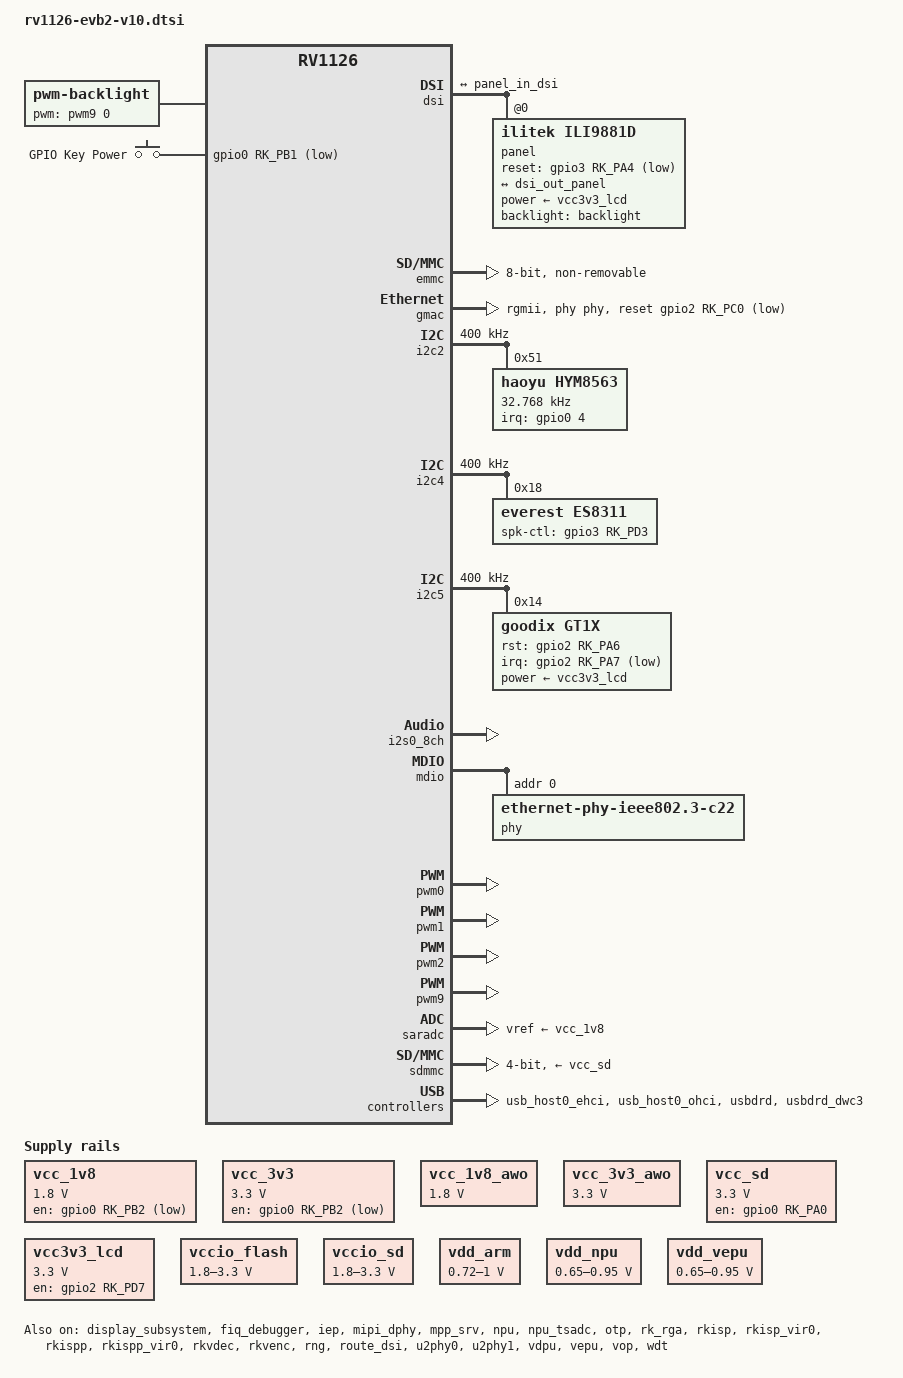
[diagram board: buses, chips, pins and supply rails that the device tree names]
// SPDX-License-Identifier: (GPL-2.0+ OR MIT)
/*
 * Copyright (c) 2024 Rockchip Electronics Co., Ltd.
 */

#include <dt-bindings/display/drm_mipi_dsi.h>
#include <dt-bindings/input/input.h>

/ {
	backlight: backlight {
		compatible = "pwm-backlight";
		pwms = <&pwm9 0 25000 0>;
		brightness-levels = <
			  0   1   2   3   4   5   6   7
			  8   9  10  11  12  13  14  15
			 16  17  18  19  20  21  22  23
			 24  25  26  27  28  29  30  31
			 32  33  34  35  36  37  38  39
			 40  41  42  43  44  45  46  47
			 48  49  50  51  52  53  54  55
			 56  57  58  59  60  61  62  63
			 64  65  66  67  68  69  70  71
			 72  73  74  75  76  77  78  79
			 80  81  82  83  84  85  86  87
			 88  89  90  91  92  93  94  95
			 96  97  98  99 100 101 102 103
			104 105 106 107 108 109 110 111
			112 113 114 115 116 117 118 119
			120 121 122 123 124 125 126 127
			128 129 130 131 132 133 134 135
			136 137 138 139 140 141 142 143
			144 145 146 147 148 149 150 151
			152 153 154 155 156 157 158 159
			160 161 162 163 164 165 166 167
			168 169 170 171 172 173 174 175
			176 177 178 179 180 181 182 183
			184 185 186 187 188 189 190 191
			192 193 194 195 196 197 198 199
			200 201 202 203 204 205 206 207
			208 209 210 211 212 213 214 215
			216 217 218 219 220 221 222 223
			224 225 226 227 228 229 230 231
			232 233 234 235 236 237 238 239
			240 241 242 243 244 245 246 247
			248 249 250 251 252 253 254 255>;
		default-brightness-level = <200>;
	};

	vcc_1v8: vcc-1v8 {
		compatible = "regulator-fixed";
		regulator-name = "vcc_1v8";
		regulator-always-on;
		regulator-boot-on;
		regulator-min-microvolt = <1800000>;
		regulator-max-microvolt = <1800000>;
		gpio = <&gpio0 RK_PB2 GPIO_ACTIVE_LOW>;
		regulator-state-mem {
			regulator-on-in-suspend;
		};
	};

	vcc_3v3: vcc-3v3 {
		compatible = "regulator-fixed";
		regulator-name = "vcc_3v3";
		regulator-always-on;
		regulator-boot-on;
		regulator-min-microvolt = <3300000>;
		regulator-max-microvolt = <3300000>;
		gpio = <&gpio0 RK_PB2 GPIO_ACTIVE_LOW>;
		regulator-state-mem {
			regulator-on-in-suspend;
		};
	};

	// Always on voltage.
	vcc_1v8_awo: vcc-1v8-awo {
		compatible = "regulator-fixed";
		regulator-name = "vcc_1v8_awo";
		regulator-always-on;
		regulator-boot-on;
		regulator-min-microvolt = <1800000>;
		regulator-max-microvolt = <1800000>;
	};

	// Always on voltage.
	vcc_3v3_awo: vcc-3v3-awo {
		compatible = "regulator-fixed";
		regulator-name = "vcc_3v3_awo";
		regulator-always-on;
		regulator-boot-on;
		regulator-min-microvolt = <3300000>;
		regulator-max-microvolt = <3300000>;
	};

	vcc_sd: vcc-sd {
		compatible = "regulator-fixed";
		regulator-name = "vcc_sd";
		regulator-min-microvolt = <3300000>;
		regulator-max-microvolt = <3300000>;
		enable-active-high;
		regulator-boot-on;
		regulator-always-on;
		gpios = <&gpio0 RK_PA0 GPIO_ACTIVE_HIGH>;
		regulator-state-mem {
			regulator-off-in-suspend;
		};
	};

	vcc3v3_lcd: vcc3v3-lcd {
		compatible = "regulator-fixed";
		regulator-name = "vcc3v3_lcd";
		gpio = <&gpio2 RK_PD7 GPIO_ACTIVE_HIGH>;
		enable-active-high;
		regulator-boot-on;
		regulator-min-microvolt = <3300000>;
		regulator-max-microvolt = <3300000>;
	};

	vccio_flash: vccio-flash {
		compatible = "regulator-gpio";
		regulator-name = "vccio_flash";
		regulator-min-microvolt = <1800000>;
		regulator-max-microvolt = <3300000>;
		regulator-init-microvolt = <1800000>;
		regulator-always-on;
		regulator-boot-on;
		gpios = <&gpio0 RK_PB3 GPIO_ACTIVE_HIGH>;
		gpios-states = <1>;
		states = <1800000 1 3300000 0>;
		status = "okay";
	};

	vccio_sd: vccio-sd {
		compatible = "regulator-gpio";
		regulator-name = "vccio_sd";
		regulator-boot-on;
		regulator-always-on;
		regulator-min-microvolt = <1800000>;
		regulator-max-microvolt = <3300000>;
		regulator-init-microvolt = <3300000>;
		gpios = <&gpio0 RK_PC1 GPIO_ACTIVE_HIGH>;
		states = <3300000 1 1800000 0>;
		status = "okay";
	};

	vdd_arm: vdd-arm {
		compatible = "pwm-regulator";
		pwms = <&pwm0 0 5000 1>;
		regulator-name = "vdd_arm";
		regulator-min-microvolt = <720000>;
		regulator-max-microvolt = <1000000>;
		regulator-init-microvolt = <825000>;
		regulator-always-on;
		regulator-boot-on;
		regulator-settling-time-up-us = <250>;
		status = "okay";
	};

	/*
	 * pwm1 is reserved as voltage adjustment in hardware
	 * use fixed regulator to avoid voltage adjustment by software
	 */
	vdd_npu: vdd-npu {
		compatible = "pwm-regulator";
		pwms = <&pwm1 0 5000 1>;
		regulator-name = "vdd_npu";
		regulator-min-microvolt = <650000>;
		regulator-max-microvolt = <950000>;
		regulator-init-microvolt = <800000>;
		regulator-always-on;
		regulator-boot-on;
		regulator-settling-time-up-us = <250>;
		status = "okay";
	};

	vdd_vepu: vdd-vepu {
		compatible = "pwm-regulator";
		pwms = <&pwm2 0 5000 1>;
		regulator-name = "vdd_vepu";
		regulator-min-microvolt = <650000>;
		regulator-max-microvolt = <950000>;
		regulator-init-microvolt = <800000>;
		regulator-always-on;
		regulator-boot-on;
		regulator-settling-time-up-us = <250>;
		status = "okay";
	};

	gpio-keys {
		compatible = "gpio-keys";
		autorepeat;
		pinctrl-names = "default";
		pinctrl-0 = <&pwr_key>;
		power-key {
			gpios = <&gpio0 RK_PB1 GPIO_ACTIVE_LOW>;
			linux,code = <KEY_POWER>;
			label ="GPIO Key Power";
			debounce-interval = <1000>;
			wakeup-source;
			/* gpio-key,wakeup; */
		};
	};

	i2s0_sound: i2s0-sound {
		status = "okay";
		compatible = "simple-audio-card";
		simple-audio-card,format = "i2s";
		simple-audio-card,mclk-fs = <256>;
		simple-audio-card,name = "rockchip,i2s0-sound";
		simple-audio-card,widgets =
			"Microphone", "Mic Jack",
			"Headphone", "Headphone Jack";
		simple-audio-card,routing =
			"Mic Jack", "MICBIAS1",
			"IN1P", "Mic Jack",
			"Headphone Jack", "HPOL",
			"Headphone Jack", "HPOR";
		simple-audio-card,cpu {
			sound-dai = <&i2s0_8ch>;
		};
		simple-audio-card,codec {
			sound-dai = <&es8311>;
		};
	};
};

&cpu0 {
	cpu-supply = <&vdd_arm>;
};

&cpu_tsadc {
	status = "okay";
};

&display_subsystem {
	status = "okay";
};

&dsi {
	status = "okay";

	rockchip,lane-rate = <480>;
	panel@0 {
		compatible = "ilitek,ili9881d", "simple-panel-dsi";
		reg = <0>;
		backlight = <&backlight>;
		power-supply = <&vcc3v3_lcd>;
		reset-gpios = <&gpio3 RK_PA4 GPIO_ACTIVE_LOW>;
		prepare-delay-ms = <5>;
		reset-delay-ms = <1>;
		init-delay-ms = <80>;
		disable-delay-ms = <10>;
		unprepare-delay-ms = <5>;

		width-mm = <68>;
		height-mm = <121>;

		dsi,flags = <(MIPI_DSI_MODE_VIDEO | MIPI_DSI_MODE_VIDEO_BURST |
			      MIPI_DSI_MODE_LPM | MIPI_DSI_MODE_EOT_PACKET)>;
		dsi,format = <MIPI_DSI_FMT_RGB888>;
		dsi,lanes = <4>;

		panel-init-sequence = [
			39 00 04 ff 98 81 03
			15 00 02 01 00
			15 00 02 02 00
			15 00 02 03 53
			15 00 02 04 53
			15 00 02 05 13
			15 00 02 06 04
			15 00 02 07 02
			15 00 02 08 02
			15 00 02 09 00
			15 00 02 0a 00
			15 00 02 0b 00
			15 00 02 0c 00
			15 00 02 0d 00
			15 00 02 0e 00
			15 00 02 0f 00
			15 00 02 10 00
			15 00 02 11 00
			15 00 02 12 00
			15 00 02 13 00
			15 00 02 14 00
			15 00 02 15 08
			15 00 02 16 10
			15 00 02 17 00
			15 00 02 18 08
			15 00 02 19 00
			15 00 02 1a 00
			15 00 02 1b 00
			15 00 02 1c 00
			15 00 02 1d 00
			15 00 02 1e c0
			15 00 02 1f 80
			15 00 02 20 02
			15 00 02 21 09
			15 00 02 22 00
			15 00 02 23 00
			15 00 02 24 00
			15 00 02 25 00
			15 00 02 26 00
			15 00 02 27 00
			15 00 02 28 55
			15 00 02 29 03
			15 00 02 2a 00
			15 00 02 2b 00
			15 00 02 2c 00
			15 00 02 2d 00
			15 00 02 2e 00
			15 00 02 2f 00
			15 00 02 30 00
			15 00 02 31 00
			15 00 02 32 00
			15 00 02 33 00
			15 00 02 34 04
			15 00 02 35 05
			15 00 02 36 05
			15 00 02 37 00
			15 00 02 38 3c
			15 00 02 39 35
			15 00 02 3a 00
			15 00 02 3b 40
			15 00 02 3c 00
			15 00 02 3d 00
			15 00 02 3e 00
			15 00 02 3f 00
			15 00 02 40 00
			15 00 02 41 88
			15 00 02 42 00
			15 00 02 43 00
			15 00 02 44 1f
			15 00 02 50 01
			15 00 02 51 23
			15 00 02 52 45
			15 00 02 53 67
			15 00 02 54 89
			15 00 02 55 ab
			15 00 02 56 01
			15 00 02 57 23
			15 00 02 58 45
			15 00 02 59 67
			15 00 02 5a 89
			15 00 02 5b ab
			15 00 02 5c cd
			15 00 02 5d ef
			15 00 02 5e 03
			15 00 02 5f 14
			15 00 02 60 15
			15 00 02 61 0c
			15 00 02 62 0d
			15 00 02 63 0e
			15 00 02 64 0f
			15 00 02 65 10
			15 00 02 66 11
			15 00 02 67 08
			15 00 02 68 02
			15 00 02 69 0a
			15 00 02 6a 02
			15 00 02 6b 02
			15 00 02 6c 02
			15 00 02 6d 02
			15 00 02 6e 02
			15 00 02 6f 02
			15 00 02 70 02
			15 00 02 71 02
			15 00 02 72 06
			15 00 02 73 02
			15 00 02 74 02
			15 00 02 75 14
			15 00 02 76 15
			15 00 02 77 0f
			15 00 02 78 0e
			15 00 02 79 0d
			15 00 02 7a 0c
			15 00 02 7b 11
			15 00 02 7c 10
			15 00 02 7d 06
			15 00 02 7e 02
			15 00 02 7f 0a
			15 00 02 80 02
			15 00 02 81 02
			15 00 02 82 02
			15 00 02 83 02
			15 00 02 84 02
			15 00 02 85 02
			15 00 02 86 02
			15 00 02 87 02
			15 00 02 88 08
			15 00 02 89 02
			15 00 02 8a 02
			39 00 04 ff 98 81 04
			15 00 02 00 80
			15 00 02 70 00
			15 00 02 71 00
			15 00 02 66 fe
			15 00 02 82 15
			15 00 02 84 15
			15 00 02 85 15
			15 00 02 3a 24
			15 00 02 32 ac
			15 00 02 8c 80
			15 00 02 3c f5
			15 00 02 88 33
			39 00 04 ff 98 81 01
			15 00 02 22 0a
			15 00 02 31 00
			15 00 02 53 78
			15 00 02 55 7b
			15 00 02 60 20
			15 00 02 61 00
			15 00 02 62 0d
			15 00 02 63 00
			15 00 02 a0 00
			15 00 02 a1 10
			15 00 02 a2 1c
			15 00 02 a3 13
			15 00 02 a4 15
			15 00 02 a5 26
			15 00 02 a6 1a
			15 00 02 a7 1d
			15 00 02 a8 67
			15 00 02 a9 1c
			15 00 02 aa 29
			15 00 02 ab 5b
			15 00 02 ac 26
			15 00 02 ad 28
			15 00 02 ae 5c
			15 00 02 af 30
			15 00 02 b0 31
			15 00 02 b1 32
			15 00 02 b2 00
			15 00 02 b1 2e
			15 00 02 b2 32
			15 00 02 b3 00
			15 00 02 c0 00
			15 00 02 c1 10
			15 00 02 c2 1c
			15 00 02 c3 13
			15 00 02 c4 15
			15 00 02 c5 26
			15 00 02 c6 1a
			15 00 02 c7 1d
			15 00 02 c8 67
			15 00 02 c9 1c
			15 00 02 ca 29
			15 00 02 cb 5b
			15 00 02 cc 26
			15 00 02 cd 28
			15 00 02 ce 5c
			15 00 02 cf 30
			15 00 02 d0 31
			15 00 02 d1 2e
			15 00 02 d2 32
			15 00 02 d3 00
			39 00 04 ff 98 81 00
			05 00 01 11
			05 01 01 29
		];

		display-timings {
			native-mode = <&timing0>;

			timing0: timing0 {
				clock-frequency = <65000000>;
				hactive = <720>;
				vactive = <1280>;
				hfront-porch = <48>;
				hsync-len = <8>;
				hback-porch = <52>;
				vfront-porch = <16>;
				vsync-len = <6>;
				vback-porch = <15>;
				hsync-active = <0>;
				vsync-active = <0>;
				de-active = <0>;
				pixelclk-active = <0>;
			};
		};

		ports {
			#address-cells = <1>;
			#size-cells = <0>;

			port@0 {
				reg = <0>;
				panel_in_dsi: endpoint {
					remote-endpoint = <&dsi_out_panel>;
				};
			};
		};
	};

	ports {
		#address-cells = <1>;
		#size-cells = <0>;

		port@1 {
			reg = <1>;
			dsi_out_panel: endpoint {
				remote-endpoint = <&panel_in_dsi>;
			};
		};
	};
};

&emmc {
	bus-width = <8>;
	cap-mmc-highspeed;
	non-removable;
	mmc-hs200-1_8v;
	rockchip,default-sample-phase = <90>;
	supports-emmc;
	/delete-property/ pinctrl-names;
	/delete-property/ pinctrl-0;
	status = "okay";
};


&fiq_debugger {
	status = "okay";
};

&gmac {
	phy-mode = "rgmii";
	clock_in_out = "input";

	snps,reset-gpio = <&gpio2 RK_PC0 GPIO_ACTIVE_LOW>;
	snps,reset-active-low;
	/* Reset time is 20ms, 100ms for rtl8211f */
	snps,reset-delays-us = <0 20000 100000>;

	assigned-clocks = <&cru CLK_GMAC_SRC>, <&cru CLK_GMAC_TX_RX>, <&cru CLK_GMAC_ETHERNET_OUT>;
	assigned-clock-parents = <&cru CLK_GMAC_SRC_M1>, <&cru RGMII_MODE_CLK>;
	assigned-clock-rates = <125000000>, <0>, <25000000>;

	pinctrl-names = "default";
	pinctrl-0 = <&rgmiim1_miim &rgmiim1_bus2 &rgmiim1_bus4 &clkm1_out_ethernet>;

	tx_delay = <0x2a>;
	rx_delay = <0x1a>;

	phy-handle = <&phy>;
	status = "okay";
};

&i2c2 {
	status = "okay";
	clock-frequency = <400000>;
	pinctrl-0 = <&i2c2_xfer>;

	hym8563: hym8563@51 {
		compatible = "haoyu,hym8563";
		reg = <0x51>;
		#clock-cells = <0>;
		clock-frequency = <32768>;
		clock-output-names = "xin32k";
		interrupt-parent = <&gpio0>;
		interrupts = <4 IRQ_TYPE_EDGE_FALLING>;
		pinctrl-names = "default";
		pinctrl-0 = <&clk_32k>;
	};
};

&i2c4 {
	status = "okay";
	clock-frequency = <400000>;
	pinctrl-0 = <&i2c4m1_xfer>;

	es8311: es8311@18 {
		compatible = "everest,es8311";
		reg = <0x18>;
		clocks = <&cru MCLK_I2S0_TX_OUT2IO>;
		clock-names = "mclk";
		adc-volume = <0xbf>;  /* 0dB */
		dac-volume = <0xbf>;  /* 0dB */
		aec-mode = "dac left, adc right";
		pinctrl-names = "default";
		pinctrl-0 = <&i2s0m0_mclk &spk_ctl>;
		assigned-clocks = <&cru MCLK_I2S0_TX_OUT2IO>;
		assigned-clock-parents = <&cru MCLK_I2S0_TX>;
		spk-ctl-gpios = <&gpio3 RK_PD3 GPIO_ACTIVE_HIGH>;
		#sound-dai-cells = <0>;
	};
};

&i2c5 {
	status = "okay";
	clock-frequency = <400000>;
	// pinctrl-0 = <&i2c5m0_xfer>;

	gt1x: gt1x@14 {
		compatible = "goodix,gt1x";
		reg = <0x14>;
		gtp_ics_slot_report;
		power-supply = <&vcc3v3_lcd>;
		goodix,rst-gpio = <&gpio2 RK_PA6 GPIO_ACTIVE_HIGH>;
		goodix,irq-gpio = <&gpio2 RK_PA7 GPIO_ACTIVE_LOW>;
	};
};

&i2s0m0_lrck_tx {
	rockchip,pins =
		/* i2s0m0_lrck_tx */
		<3 RK_PD4 1 &pcfg_pull_none>;
};

&i2s0_8ch {
	status = "okay";
	rockchip,clk-trcm = <1>;
	#sound-dai-cells = <0>;
	pinctrl-0 = <&i2s0m0_sclk_tx
		     &i2s0m0_lrck_tx
		     &i2s0m0_sdi0
		     &i2s0m0_sdo0>;
};

&iep {
	status = "okay";
};

&iep_mmu {
	status = "okay";
};

&mdio {
	phy: phy@0 {
		compatible = "ethernet-phy-ieee802.3-c22";
		reg = <0x0>;
		clocks = <&cru CLK_GMAC_ETHERNET_OUT>;
	};
};

&mipi_dphy {
	status = "okay";
};

&mpp_srv {
	status = "okay";
};

&nandc {
	/delete-property/ pinctrl-names;
	/delete-property/ pinctrl-0;
	status = "disabled";
	#address-cells = <1>;
	#size-cells = <0>;

	nand@0 {
		reg = <0>;
		nand-bus-width = <8>;
		nand-ecc-mode = "hw";
		nand-ecc-strength = <16>;
		nand-ecc-step-size = <1024>;
	};
};

&npu {
	npu-supply = <&vdd_npu>;
	status = "okay";
};

&npu_opp_table {
	/delete-node/ opp-800000000;
	/delete-node/ opp-934000000;
};

&npu_tsadc {
	status = "okay";
};

&optee {
	status = "disabled";
};

&otp {
	status = "okay";
};

&pinctrl {
	es8311 {
		spk_ctl: spk-ctl {
			rockchip,pins = <3 RK_PD3 0 &pcfg_pull_none>;
		};
	};
	buttons {
		pwr_key: pwr-key {
			rockchip,pins = <0 RK_PB1 RK_FUNC_GPIO &pcfg_pull_up>;
		};
	};
};

&pmu_io_domains {
	status = "okay";

	pmuio0-supply = <&vcc_3v3_awo>;
	pmuio1-supply = <&vcc_3v3_awo>;
	vccio1-supply = <&vccio_flash>;
	vccio2-supply = <&vccio_sd>;
	vccio3-supply = <&vcc_3v3>;
	vccio4-supply = <&vcc_1v8>;
	vccio5-supply = <&vcc_3v3>;
	vccio6-supply = <&vcc_1v8>;
	vccio7-supply = <&vcc_3v3>;
};
&pwm0 {
	status = "okay";
	pinctrl-names = "active";
	pinctrl-0 = <&pwm0m0_pins_pull_down>;
};

&pwm1 {
	status = "okay";
	pinctrl-names = "active";
	pinctrl-0 = <&pwm1m0_pins_pull_down>;
};

&pwm2 {
	status = "okay";
	pinctrl-names = "active";
	pinctrl-0 = <&pwm2m0_pins_pull_down>;
};

&pwm9 {
	status = "okay";
	pinctrl-names = "active";
	pinctrl-0 = <&pwm9m1_pins>;
};

&ramoops {
	status = "okay";
};

&rk_rga {
	status = "okay";
};

&rkisp {
	status = "okay";
};

&rkisp_vir0 {
	status = "okay";
};

&rkisp_mmu {
	status = "disabled";
};

&rkispp {
	rockchip,restart-monitor-en;
	status = "okay";
};

&rkispp_vir0 {
	status = "okay";
};

&rkispp_mmu {
	status = "okay";
};

&rkvdec {
	status = "okay";
};

&rkvdec_mmu {
	status = "okay";
};

&rkvenc {
	venc-supply = <&vdd_vepu>;
	status = "okay";
};

&rkvenc_mmu {
	status = "okay";
};

&rng {
	status = "okay";
};

&route_dsi {
	status = "okay";
};

&saradc {
	status = "okay";
	vref-supply = <&vcc_1v8>;
};

&sdmmc0_pwr {
	rockchip,pins =
		/* sdmmc0_pwr */
		<0 RK_PA0 RK_FUNC_GPIO &pcfg_pull_up>;
};

&sdmmc0_bus4 {
	rockchip,pins =
		/* sdmmc0_d0 */
		<1 RK_PA4 1 &pcfg_pull_up_drv_level_0>,
		/* sdmmc0_d1 */
		<1 RK_PA5 1 &pcfg_pull_up_drv_level_0>,
		/* sdmmc0_d2 */
		<1 RK_PA6 1 &pcfg_pull_up_drv_level_0>,
		/* sdmmc0_d3 */
		<1 RK_PA7 1 &pcfg_pull_up_drv_level_0>;
};

&sdmmc0_clk {
	rockchip,pins =
		/* sdmmc0_clk */
		<1 RK_PB0 1 &pcfg_pull_up_drv_level_3>;
};

&sdmmc0_cmd {
	rockchip,pins =
		/* sdmmc0_cmd */
		<1 RK_PB1 1 &pcfg_pull_up_drv_level_0>;
};

&sdmmc0_det {
	rockchip,pins =
		/* sdmmc0_det */
		<0 RK_PA3 1 &pcfg_pull_none>;
};

&sdmmc {
	bus-width = <4>;
	cap-mmc-highspeed;
	cap-sd-highspeed;
	card-detect-delay = <200>;
	rockchip,default-sample-phase = <90>;
	supports-sd;
	status = "okay";
	vmmc-supply = <&vcc_sd>;
	vqmmc-supply = <&vccio_sd>;
};

&sfc {
	/delete-property/ pinctrl-names;
	/delete-property/ pinctrl-0;
	status = "disabled";
};

&u2phy0 {
	status = "okay";
	u2phy_otg: otg-port {
		status = "okay";
	};
};

&u2phy1 {
	status = "okay";
	u2phy_host: host-port {
		status = "okay";
	};
};

&usb_host0_ehci {
	status = "okay";
};

&usb_host0_ohci {
	status = "okay";
};

&usbdrd {
	status = "okay";
};

&usbdrd_dwc3 {
	status = "okay";
	extcon = <&u2phy0>;
};

&vdpu {
	status = "okay";
};

&vepu {
	status = "okay";
};

&vop {
	status = "okay";
};

&vop_mmu {
	status = "okay";
};

&vpu_mmu {
	status = "okay";
};

&wdt {
	status = "okay";
};
